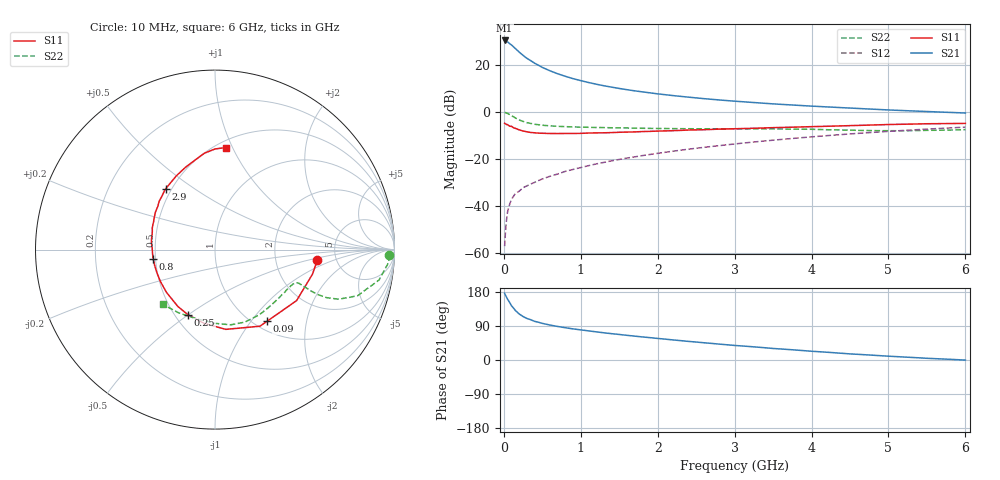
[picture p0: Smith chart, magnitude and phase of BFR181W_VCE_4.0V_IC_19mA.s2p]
! Infineon Technologies  Discrete & RF Semiconductors
! BFR181W
! VCE =  4.0 V,  IC =  19 mA
! Common Emitter S-Parameters:  Jan 2017
# GHz  S  MA  R  50
!  f  S11  S21  S12  S22
! GHz  MAG  ANG  MAG  ANG  MAG  ANG  MAG  ANG
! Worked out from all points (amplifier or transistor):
!   77 points, 10 MHz to 6 GHz, reference 50 ohm
!   highest |S21| = 30.4 dB at 10 MHz (marker M1)
!   |S21| within 3 dB of that: start of sweep to 135.2 MHz
!   unconditionally stable (mu >= 1): 579.1 MHz to 2.546 GHz
!   at 130 MHz: K = 0.43, MSG = 31.6 dB, |S12| = -35.7 dB
!   at 2.2 GHz: K = 1.04, MAG = 10.6 dB, |S12| = -16.7 dB
!   at 6 GHz: K = 0.84, MSG = 3.0 dB, |S12| = -6.5 dB
!   S11 on the Smith chart (normalised r, x): 10 MHz: 3.58, -0.62; 90 MHz: 1.15, -1.21; 250 MHz: 0.58, -0.50; 800 MHz: 0.49, -0.05; 2.9 GHz: 0.47, +0.39; 6 GHz: 0.56, +0.94
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0.01  0.5739 -5.8  33.1 176.2  0.0014 101.3  0.9695 -1.9
0.02  0.5597 -14.3  32.57 171.4  0.0026 94.3  0.9709 -4.1
0.05  0.5361 -32.0  30.89 159.7  0.0077 74.1  0.9295 -10.5
0.09  0.4935 -53.8  27.2 146.6  0.0126 72.2  0.853 -16.3
0.1  0.495 -59.6  26.54 142.8  0.0138 71.9  0.8354 -17.9
0.15  0.4485 -82.3  22.29 130.6  0.0184 64.6  0.7452 -21.8
0.2  0.415 -98.6  18.68 121.4  0.0207 62.7  0.6771 -23.3
0.25  0.393 -112.5  15.96 114.7  0.0245 61.3  0.6281 -23.6
0.3  0.3785 -123.1  13.8 109.6  0.0268 61.9  0.5918 -23.4
0.4  0.3604 -138.7  10.86 102.0  0.0318 65.0  0.5472 -22.7
0.5  0.3522 -150.0  8.856 96.7  0.0376 66.3  0.5218 -22.2
0.6  0.3483 -158.7  7.493 92.2  0.0429 67.7  0.506 -21.9
0.8  0.3484 -171.8  5.719 85.1  0.0546 71.9  0.4866 -22.4
0.9  0.3489 -177.0  5.103 82.1  0.0599 71.8  0.4809 -23.1
1.1  0.356 174.3  4.228 76.9  0.072 73.5  0.4718 -24.7
1.5  0.3696 161.0  3.157 67.4  0.0976 74.0  0.4575 -29.6
2.1  0.3953 145.4  2.324 55.0  0.139 73.2  0.4434 -39.8
2.9  0.4351 129.1  1.745 40.2  0.2002 69.5  0.4376 -55.9
3.1  0.4433 125.3  1.65 37.0  0.2168 68.0  0.4363 -59.9
4.1  0.491 108.3  1.305 21.8  0.3041 60.2  0.4231 -80.5
5.1  0.544 94.9  1.085 9.0  0.395 50.0  0.3983 -107.9
6  0.5713 84.1  0.949 -0.2  0.4751 40.1  0.4209 -133.4
